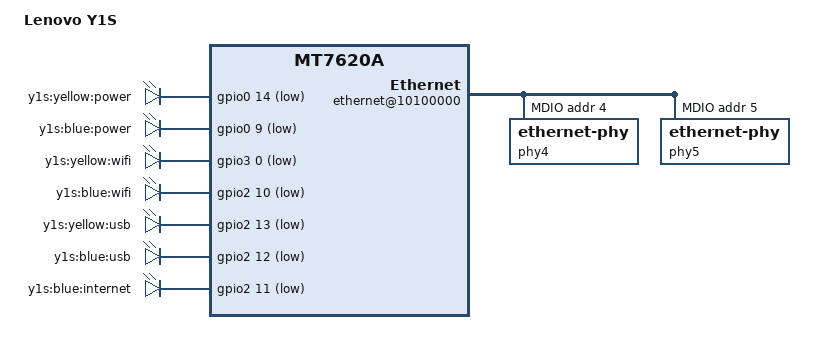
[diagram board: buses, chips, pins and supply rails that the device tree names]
/dts-v1/;

/include/ "Y1.dtsi"

/ {
	compatible = "lenovo,Y1S", "ralink,mt7620a-soc";
	model = "Lenovo Y1S";

	ethernet@10100000 {
		status = "okay";
		mtd-mac-address = <&factory 0x4>;
		pinctrl-names = "default";
		pinctrl-0 = <&rgmii1_pins &rgmii2_pins &mdio_pins>;
		ralink,port-map = "wllll";

		port@4 {
			status = "okay";
			phy-handle = <&phy4>;
			phy-mode = "rgmii";
		};

		port@5 {
			status = "okay";
			phy-handle = <&phy5>;
			phy-mode = "rgmii";
		};

		mdio-bus {
			status = "okay";

			phy4: ethernet-phy@4 {
				reg = <4>;
				phy-mode = "rgmii";
			};

			phy5: ethernet-phy@5 {
				reg = <5>;
				phy-mode = "rgmii";
			};
		};
	};

	gsw@10110000 {
		ralink,port4 = "gmac";
	};
	
	gpio-leds {
		compatible = "gpio-leds";

		power1 {
			label = "y1s:yellow:power";
			gpios = <&gpio0 14 1>;
		};

		power2 {
			label = "y1s:blue:power";
			gpios = <&gpio0 9 1>;
		};

		wlan1 {
			label = "y1s:yellow:wifi";
			gpios = <&gpio3 0 1>;
		};

		wlan2 {
			label = "y1s:blue:wifi";
			gpios = <&gpio2 10 1>;
		};

		usb1 {
			label = "y1s:yellow:usb";
			gpios = <&gpio2 13 1>;
		};

		usb2 {
			label = "y1s:blue:usb";
			gpios = <&gpio2 12 1>;
		};

		internet {
			label = "y1s:blue:internet";
			gpios = <&gpio2 11 1>;
		};
	};
};
